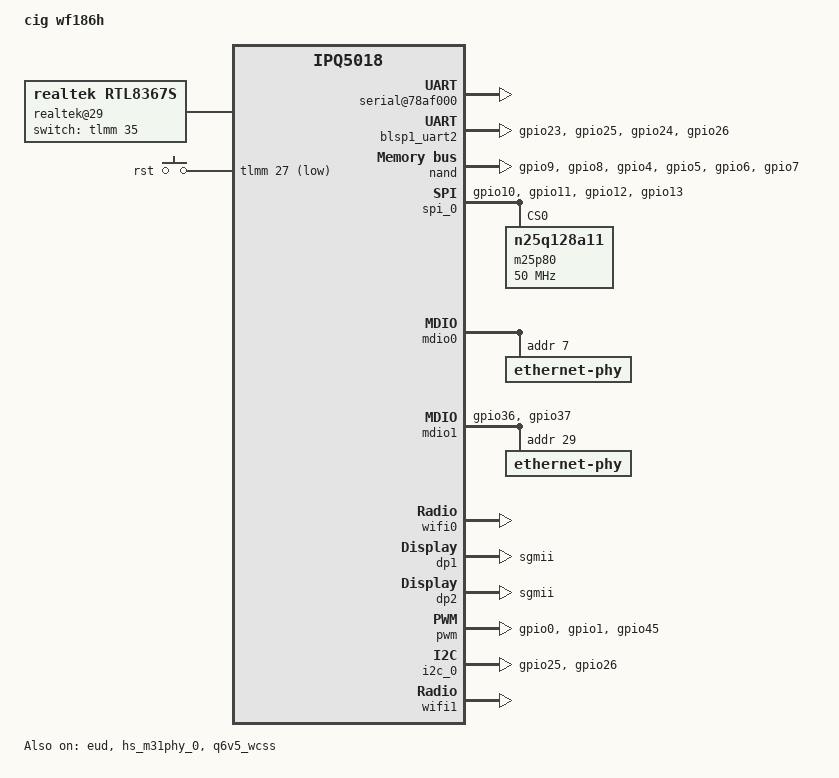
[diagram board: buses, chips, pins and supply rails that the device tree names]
/dts-v1/;
/* Copyright (c) 2018-2021, The Linux Foundation. All rights reserved.
 *
 * Copyright (c) 2021 Qualcomm Innovation Center, Inc. All rights reserved.
 *
 * Permission to use, copy, modify, and/or distribute this software for any
 * purpose with or without fee is hereby granted, provided that the above
 * copyright notice and this permission notice appear in all copies.
 *
 * THE SOFTWARE IS PROVIDED "AS IS" AND THE AUTHOR DISCLAIMS ALL WARRANTIES
 * WITH REGARD TO THIS SOFTWARE INCLUDING ALL IMPLIED WARRANTIES OF
 * MERCHANTABILITY AND FITNESS. IN NO EVENT SHALL THE AUTHOR BE LIABLE FOR
 * ANY SPECIAL, DIRECT, INDIRECT, OR CONSEQUENTIAL DAMAGES OR ANY DAMAGES
 * WHATSOEVER RESULTING FROM LOSS OF USE, DATA OR PROFITS, WHETHER IN AN
 * ACTION OF CONTRACT, NEGLIGENCE OR OTHER TORTIOUS ACTION, ARISING OUT OF
 * OR IN CONNECTION WITH THE USE OR PERFORMANCE OF THIS SOFTWARE.
 */

#include "ipq5018.dtsi"

/ {
	#address-cells = <0x2>;
	#size-cells = <0x2>;
	model = "cig wf186h";
	compatible = "cig,wf186h","qcom,ipq5018-ap-mp03.3", "qcom,ipq5018-mp03.3", "qcom,ipq5018";
	interrupt-parent = <&intc>;

	aliases {
		sdhc1 = &sdhc_1; /* SDC1 eMMC slot */
		serial0 = &blsp1_uart1;
		serial1 = &blsp1_uart2;
		ethernet0 = "/soc/dp1";
		ethernet1 = "/soc/dp2";
	};

	chosen {
		bootargs = "console=ttyMSM0,115200,n8 rw init=/init";
		bootargs-append = " swiotlb=1 coherent_pool=2M";
		stdout-path = "serial0";
	};

	reserved-memory {
	#ifdef __IPQ_MEM_PROFILE_256_MB__
	/*            256 MB Profile
	 * +=========+==============+========================+
	 * |        |              |                         |
	 * | Region | Start Offset |          Size           |
	 * |        |              |                         |
	 * +--------+--------------+-------------------------+
	 * |        |              |                         |
	 * |        |              |                         |
	 * |  NSS   |  0x40000000  |          8MB            |
	 * |        |              |                         |
	 * |        |              |                         |
	 * +--------+--------------+-------------------------+
	 * |        |              |                         |
	 * |        |              |                         |
	 * |        |              |                         |
	 * |        |              |                         |
	 * | Linux  |  0x40800000  | Depends on total memory |
	 * |        |              |                         |
	 * |        |              |                         |
	 * |        |              |                         |
	 * +        |              |                         |
	 * +--------+--------------+-------------------------+
	 * |        |              |                         |
	 * | uboot  |  0x4A600000  |           4MB           |
	 * |        |              |                         |
	 * +--------+--------------+-------------------------+
	 * |  SBL   |  0x4AA00000  |           1MB           |
	 * +--------+--------------+-------------------------+
	 * |  smem  |  0x4AB00000  |           1MB           |
	 * +--------+--------------+-------------------------+
	 * |        |              |                         |
	 * |   TZ   |  0x4AC00000  |           4MB           |
	 * |        |              |                         |
	 * +--------+--------------+-------------------------+
	 * |        |              |                         |
	 * |        |              |                         |
	 * |        |              |                         |
	 * |   Q6   |  0x4B000000  |          16MB           |
	 * |  code/ |              |                         |
	 * |  data  |              |                         |
	 * +--------+--------------+-------------------------+
	 * |        |              |                         |
	 * |IPQ5018 |  0x4C000000  |          13MB           |
	 * |  data  |              |                         |
	 * +--------+--------------+-------------------------+
	 * | M3 Dump|  0x4CD00000  |           1MB           |
	 * +--------+--------------+-------------------------+
	 * |  QDSS  |  0x4CE00000  |           1MB           |
	 * +--------+--------------+-------------------------+
	 * |QCN6122 |  0x4CF00000  |          15MB           |
	 * |  data  |              |                         |
	 * +--------+--------------+-------------------------+
	 * | M3 Dump|  0x4DE00000  |           1MB           |
	 * +--------+--------------+-------------------------+
	 * |  QDSS  |  0x4DF00000  |           1MB           |
	 * +--------+--------------+-------------------------+
	 * |        |              |                         |
	 * |QCN9000 |  0x4E000000  |          25MB           |
	 * |        |              |                         |
	 * +--------+--------------+-------------------------+
	 * |        |              |                         |
	 * |  MHI1  |  0x4F900000  |           9MB           |
	 * |        |              |                         |
	 * +--------+--------------+-------------------------+
	 * |                                                 |
	 * |      Rest of the memory for Linux               |
	 * |                                                 |
	 * +=================================================+
	 */

		q6_mem_regions: q6_mem_regions@4B000000 {
			no-map;
			reg = <0x0 0x4B000000 0x0 0x3000000>;
		};

		q6_code_data: q6_code_data@4B000000 {
			no-map;
			reg = <0x0 0x4B000000 0x0 01000000>;
		};

		q6_ipq5018_data: q6_ipq5018_data@4c000000 {
			no-map;
			reg = <0x0 0x4c000000 0x0 0xD00000>;
		};

		m3_dump: m3_dump@4CD00000 {
			no-map;
			reg = <0x0 0x4CD00000 0x0 0x100000>;
		};

		q6_etr_region:q6_etr_dump@4CE00000 {
			no-map;
			reg = <0x0 0x4CE00000 0x0 0x100000>;
		};

		q6_qcn6122_data1: q6_qcn6122_data1@4CF00000 {
			no-map;
			reg = <0x0 0x4CF00000 0x0 0xF00000>;
		};

		m3_dump_qcn6122_1: m3_dump_qcn6122_1@4DE00000 {
			no-map;
			reg = <0x0 0x4DE00000 0x0 0x100000>;
		};

		q6_qcn6122_etr_1: q6_qcn6122_etr_1@4DF00000 {
			no-map;
			reg = <0x0 0x4DF00000 0x0 0x100000>;
		};

		q6_qcn9000_region: qcn9000_pcie0@4E000000 {
			no-map;
			reg = <0x0 0x4E000000 0x0 0x01900000>;
		};

	#if defined(__CNSS2__)
		mhi_region1: dma_pool1@4F900000 {
			compatible = "shared-dma-pool";
			no-map;
			reg = <0x0 0x4F900000 0x0 0x00500000>;
		};
	#endif
	#elif __IPQ_MEM_PROFILE_512_MB__
	/*                      512 MB Profile
	 * +==========+==============+=========================+
	 * |          |              |                         |
	 * |  Region  | Start Offset |          Size           |
	 * |          |              |                         |
	 * +----------+--------------+-------------------------+
	 * |    NSS   |  0x40000000  |          16MB           |
	 * +----------+--------------+-------------------------+
	 * |   Linux  |  0x41000000  | Depends on total memory |
	 * +----------+--------------+-------------------------+
	 * |   uboot  |  0x4A600000  |           4MB           |
	 * +----------+--------------+-------------------------+
	 * |    SBL   |  0x4AA00000  |           1MB           |
	 * +----------+--------------+-------------------------+
	 * |   smem   |  0x4AB00000  |           1MB           |
	 * +----------+--------------+-------------------------+
	 * |    TZ    |  0x4AC00000  |           4MB           |
	 * +----------+--------------+-------------------------+
	 * |    Q6    |              |                         |
	 * |   code/  |  0x4B000000  |          20MB           |
	 * |   data   |              |                         |
	 * +----------+--------------+-------------------------+
	 * |  IPQ5018 |              |                         |
	 * |   data   |  0x4C400000  |          13MB           |
	 * +----------+--------------+-------------------------+
	 * |  IPQ5018 |              |                         |
	 * |  M3 Dump |  0x4D100000  |           1MB           |
	 * +----------+--------------+-------------------------+
	 * |  IPQ5018 |              |                         |
	 * |   QDSS   |  0x4D200000  |           1MB           |
	 * +----------+--------------+-------------------------+
	 * |  IPQ5018 |              |                         |
	 * |  Caldb   |  0x4D300000  |           2MB           |
	 * +----------+--------------+-------------------------+
	 * | QCN6122_1|              |                         |
	 * |   data   |  0x4D500000  |          13MB           |
	 * +----------+--------------+-------------------------+
	 * | QCN6122_1|              |                         |
	 * |  M3 Dump |  0x4E200000  |           1MB           |
	 * +----------+--------------+-------------------------+
	 * | QCN6122_1|              |                         |
	 * |   QDSS   |  0x4E300000  |           1MB           |
	 * +----------+--------------+-------------------------+
	 * | QCN6122_1|              |                         |
	 * |  Caldb   |  0x4E400000  |           5MB           |
	 * +----------+--------------+-------------------------+
	 * |                                                   |
	 * |            Rest of the memory for Linux           |
	 * |                                                   |
	 * +===================================================+
	 */
		q6_mem_regions: q6_mem_regions@4B000000 {
			no-map;
			reg = <0x0 0x4B000000 0x0 0x4D00000>;
		};

		q6_code_data: q6_code_data@4B000000 {
			no-map;
			reg = <0x0 0x4B000000 0x0 01400000>;
		};

		q6_ipq5018_data: q6_ipq5018_data@4C400000 {
			no-map;
			reg = <0x0 0x4C400000 0x0 0xD00000>;
		};

		m3_dump: m3_dump@4D100000 {
			no-map;
			reg = <0x0 0x4D100000 0x0 0x100000>;
		};

		q6_etr_region: q6_etr_dump@4D200000 {
			no-map;
			reg = <0x0 0x4D200000 0x0 0x100000>;
		};

		q6_caldb_region: q6_caldb_region@4D300000 {
			no-map;
			reg = <0x0 0x4D300000 0x0 0x200000>;
		};

		q6_qcn6122_data1: q6_qcn6122_data1@4D500000 {
			no-map;
			reg = <0x0 0x4D500000 0x0 0xD00000>;
		};

		m3_dump_qcn6122_1: m3_dump_qcn6122_1@4E200000 {
			no-map;
			reg = <0x0 0x4E200000 0x0 0x100000>;
		};

		q6_qcn6122_etr_1: q6_qcn6122_etr_1@4E300000 {
			no-map;
			reg = <0x0 0x4E300000 0x0 0x100000>;
		};

		q6_qcn6122_caldb_1: q6_qcn6122_caldb_1@4E400000 {
			no-map;
			reg = <0x0 0x4E400000 0x0 0x500000>;
		};
	#else
	/*                      1G Profile
	 * +=========+==============+========================+
	 * |        |              |                         |
	 * | Region | Start Offset |          Size           |
	 * |        |              |                         |
	 * +--------+--------------+-------------------------+
	 * |        |              |                         |
	 * |        |              |                         |
	 * |  NSS   |  0x40000000  |          16MB           |
	 * |        |              |                         |
	 * |        |              |                         |
	 * +--------+--------------+-------------------------+
	 * |        |              |                         |
	 * |        |              |                         |
	 * |        |              |                         |
	 * |        |              |                         |
	 * | Linux  |  0x41000000  | Depends on total memory |
	 * |        |              |                         |
	 * |        |              |                         |
	 * |        |              |                         |
	 * |        |              |                         |
	 * +--------+--------------+-------------------------+
	 * |        |              |                         |
	 * | uboot  |  0x4A600000  |           4MB           |
	 * |        |              |                         |
	 * +--------+--------------+-------------------------+
	 * |  SBL   |  0x4AA00000  |           1MB           |
	 * +--------+--------------+-------------------------+
	 * |  smem  |  0x4AB00000  |           1MB           |
	 * +--------+--------------+-------------------------+
	 * |        |              |                         |
	 * |   TZ   |  0x4AC00000  |           4MB           |
	 * |        |              |                         |
	 * +--------+--------------+-------------------------+
	 * |        |              |                         |
	 * |        |              |                         |
	 * |   Q6   |  0x4B000000  |          16MB           |
	 * |  code/ |              |                         |
	 * |  data  |              |                         |
	 * +--------+--------------+-------------------------+
	 * |        |              |                         |
	 * |IPQ5018 |  0x4C000000  |          13MB           |
	 * |  data  |              |                         |
	 * +--------+--------------+-------------------------+
	 * | M3 Dump|  0x4CD00000  |           1MB           |
	 * +--------+--------------+-------------------------+
	 * |  QDSS  |  0x4CE00000  |           1MB           |
	 * +--------+--------------+-------------------------+
	 * | caldb  |  0x4CF00000  |           2MB           |
	 * +--------+--------------+-------------------------+
	 * |QCN6122 |  0x4D100000  |          13MB           |
	 * |  data  |              |                         |
	 * +--------+--------------+-------------------------+
	 * | M3 Dump|  0x4DE00000  |           1MB           |
	 * +--------+--------------+-------------------------+
	 * |  QDSS  |  0x4DF00000  |           1MB           |
	 * +--------+--------------+-------------------------+
	 * | caldb  |  0x4E000000  |           5MB           |
	 * +--------+--------------+-------------------------+
	 * |        |              |                         |
	 * |QCN9000 |  0x4E500000  |          53MB           |
	 * |        |              |                         |
	 * +--------+--------------+-------------------------+
	 * |        |              |                         |
	 * |  MHI1  |  0x51A00000  |           9MB           |
	 * |        |              |                         |
	 * +--------+--------------+-------------------------+
	 * |                                                 |
	 * |      Rest of the memory for Linux               |
	 * |                                                 |
	 * +=================================================+
	 */

		q6_mem_regions: q6_mem_regions@4B000000 {
			no-map;
			reg = <0x0 0x4B000000 0x0 0x3500000>;
		};

		q6_code_data: q6_code_data@4B000000 {
			no-map;
			reg = <0x0 0x4B000000 0x0 01000000>;
		};

		q6_ipq5018_data: q6_ipq5018_data@4C000000 {
			no-map;
			reg = <0x0 0x4C000000 0x0 0xD00000>;
		};

		m3_dump: m3_dump@4CD00000 {
			no-map;
			reg = <0x0 0x4CD00000 0x0 0x100000>;
		};

		q6_etr_region: q6_etr_dump@4CE00000 {
			no-map;
			reg = <0x0 0x4CE00000 0x0 0x100000>;
		};

		q6_caldb_region: q6_caldb_region@4CF00000 {
			no-map;
			reg = <0x0 0x4CF00000 0x0 0x200000>;
		};

		q6_qcn6122_data1: q6_qcn6122_data1@4D100000 {
			no-map;
			reg = <0x0 0x4D100000 0x0 0xD00000>;
		};

		m3_dump_qcn6122_1: m3_dump_qcn6122_1@4DE00000 {
			no-map;
			reg = <0x0 0x4DE00000 0x0 0x100000>;
		};

		q6_qcn6122_etr_1: q6_qcn6122_etr_1@4DF00000 {
			no-map;
			reg = <0x0 0x4DF00000 0x0 0x100000>;
		};

		q6_qcn6122_caldb_1: q6_qcn6122_caldb_1@4E000000 {
			no-map;
			reg = <0x0 0x4E000000 0x0 0x500000>;
		};

		q6_qcn9000_region: qcn9000_pcie0@4E500000 {
			no-map;
			reg = <0x0 0x4E500000 0x0 0x03500000>;
		};

#if defined(__CNSS2__)
		mhi_region1: dma_pool1@51a00000 {
			compatible = "shared-dma-pool";
			no-map;
			reg = <0x0 0x51A00000 0x0 0x00500000>;
		};
#endif
	#endif
	};

	soc {
		serial@78af000 {
			status = "ok";
		};

		blsp1_uart2: serial@78b0000 {
			pinctrl-0 = <&blsp1_uart_pins>;
			pinctrl-names = "default";
			status = "ok";
		};

		qpic_bam: dma@7984000{
			status = "ok";
		};

		nand: qpic-nand@79b0000 {
			pinctrl-0 = <&qspi_nand_pins>;
			pinctrl-names = "default";
			status = "ok";
		};

		spi_0: spi@78b5000 { /* BLSP1 QUP0 */
			pinctrl-0 = <&blsp0_spi_pins>;
			pinctrl-names = "default";
			cs-select = <0>;
			status = "ok";

			m25p80@0 {
				#address-cells = <1>;
				#size-cells = <1>;
				reg = <0>;
				compatible = "n25q128a11";
				linux,modalias = "m25p80", "n25q128a11";
				spi-max-frequency = <50000000>;
				use-default-sizes;
			};
		};

		mdio0: mdio@88000 {
			status = "ok";

			ethernet-phy@0 {
				reg = <7>;
			};
		};

		mdio1: mdio@90000 {
			status = "ok";
			pinctrl-0 = <&mdio1_pins>;
			pinctrl-names = "default";
			phy-reset-gpio = <&tlmm 35 0>;
			cig_clk_div = <0xff>;
			ethernet-phy@0 {
				reg = <0x1d>;
			};
		};

		realtek@29{
			compatible = "realtek,rtl8367s";
			mii-bus = <&mdio1>;
			realtek,extif0 = <0 0 10 1 1 1 1 1 2>;
			switch = <&tlmm 35 0>;
			phy-addr = <29>;
                        status = "ok";
		};
		ess-instance {
			num_devices = <0x1>;
			ess-switch@0x39c00000 {
				switch_mac_mode = <0xf>; /* mac mode for uniphy instance*/
				cmnblk_clk = "internal_96MHz"; /* cmnblk clk*/
				qcom,port_phyinfo {
					port@0 {
						port_id = <1>;
						phy_address = <7>;
						mdiobus = <&mdio0>;
					};
					port@1 {
						port_id = <2>;
						forced-speed = <1000>;
						mdiobus = <&mdio1>;
						forced-duplex = <1>;
					};
				};
				led_source@0 {
					source = <0>;
					mode = "normal";
					speed = "all";
					blink_en = "enable";
					active = "high";
				};
			};
		};

		wifi0: wifi@c000000 {
			status = "ok";
		};

		dp1 {
			device_type = "network";
			compatible = "qcom,nss-dp";
			clocks = <&gcc GCC_SNOC_GMAC1_AXI_CLK>;
			clock-names = "nss-snoc-gmac-axi-clk";
			qcom,id = <2>;
			reg = <0x39D00000 0x10000>;
			interrupts = <GIC_SPI 109 IRQ_TYPE_LEVEL_HIGH>;
			qcom,mactype = <2>;
			mdio-bus = <&mdio1>;
			local-mac-address = [000000000000];
			phy-mode = "sgmii";
			qcom,rx-page-mode = <0>;
		};

		dp2 {
			device_type = "network";
			compatible = "qcom,nss-dp";
			clocks = <&gcc GCC_SNOC_GMAC0_AXI_CLK>;
			clock-names = "nss-snoc-gmac-axi-clk";
			qcom,id = <1>;
			reg = <0x39C00000 0x10000>;
			interrupts = <GIC_SPI 101 IRQ_TYPE_LEVEL_HIGH>;
			qcom,mactype = <2>;
			qcom,link-poll = <1>;
			qcom,phy-mdio-addr = <7>;
			mdio-bus = <&mdio0>;
			local-mac-address = [000000000000];
			phy-mode = "sgmii";
			qcom,rx-page-mode = <0>;
		};

		nss-macsec1 {
			compatible = "qcom,nss-macsec";
			phy_addr = <0x1c>;
			mdiobus = <&mdio1>;
		};

		pcm: pcm@0xA3C0000{
			pinctrl-0 = <&audio_pins>;
			pinctrl-names = "default";
		};

		gpio_keys {
			compatible = "gpio-keys";
			pinctrl-0 = <&button_pins>;
			pinctrl-names = "default";

			button@1 {
				label = "rst";
				linux,code = <KEY_RESTART>;
				gpios = <&tlmm 27 GPIO_ACTIVE_LOW>;
				linux,input-type = <1>;
				debounce-interval = <60>;
			};
		};
	};

	qcom,test@0 {
		status = "ok";
	};

	thermal-zones {
		status = "ok";
	};
};

&soc {
         pwm: pwm@0x1941010 {
                pinctrl-0 = <&pwm_pins>;
                pinctrl-names = "default";
                used-pwm-indices = <1>, <1>, <1>, <1>;
                dft-pwm-status = <1>, <0>, <0>, <0>;
                status = "ok";
        };
};


&tlmm {
	pinctrl-0 = <&blsp0_uart_pins &phy_led_pins>;
	pinctrl-names = "default";

	blsp0_uart_pins: uart_pins {
		blsp0_uart_rx_tx {
			pins = "gpio20", "gpio21";
			function = "blsp0_uart0";
			bias-disable;
		};
	};

	blsp1_uart_pins: blsp1_uart_pins {
		blsp1_uart_rx_tx {
			pins = "gpio23", "gpio25", "gpio24", "gpio26";
			function = "blsp1_uart2";
			bias-disable;
		};
	};

	blsp0_spi_pins: blsp0_spi_pins {
		mux {
			pins = "gpio10", "gpio11", "gpio12", "gpio13";
			function = "blsp0_spi";
			drive-strength = <2>;
			bias-disable;
		};
	};

	qspi_nand_pins: qspi_nand_pins {
		qspi_clock {
				pins = "gpio9";
				function = "qspi_clk";
				drive-strength = <8>;
				bias-disable;
			};

		qspi_cs {
				pins = "gpio8";
				function = "qspi_cs";
				drive-strength = <8>;
				bias-disable;
			};

		qspi_data {
				pins = "gpio4", "gpio5", "gpio6", "gpio7";
				function = "qspi_data";
				drive-strength = <8>;
				bias-disable;
			};
	};

	mdio1_pins: mdio_pinmux {
		mux_0 {
			pins = "gpio36";
			function = "mdc";
			drive-strength = <8>;
			bias-pull-up;
		};

		mux_1 {
			pins = "gpio37";
			function = "mdio";
			drive-strength = <8>;
			bias-pull-up;
		};
	};

	phy_led_pins: phy_led_pins {
		gephy_led_pin {
			pins = "gpio46";
			function = "led0";
			drive-strength = <8>;
			bias-pull-down;
		};
	};

	i2c_pins: i2c_pins {
		i2c_scl {
			pins = "gpio25";
			function = "blsp2_i2c1";
			drive-strength = <8>;
			bias-disable;
		};

		i2c_sda {
			pins = "gpio26";
			function = "blsp2_i2c1";
			drive-strength = <8>;
			bias-disable;
		};
	};

	button_pins: button_pins {
		rst_button {
			pins = "gpio27";
			function = "gpio";
			drive-strength = <8>;
			bias-pull-up;
		};
	};

	audio_pins: audio_pinmux {
		mux_1 {
			pins = "gpio24";
			function = "audio_rxbclk";
			drive-strength = <8>;
			bias-pull-down;
		};

		mux_2 {
			pins = "gpio25";
			function = "audio_rxfsync";
			drive-strength = <8>;
			bias-pull-down;
		};

		mux_3 {
			pins = "gpio26";
			function = "audio_rxd";
			drive-strength = <8>;
			bias-pull-down;
		};

		mux_4 {
			pins = "gpio27";
			function = "audio_txmclk";
			drive-strength = <8>;
			bias-pull-down;
		};

		mux_5 {
			pins = "gpio28";
			function = "audio_txbclk";
			drive-strength = <8>;
			bias-pull-down;
		};

		mux_6 {
			pins = "gpio29";
			function = "audio_txfsync";
			drive-strength = <8>;
			bias-pull-down;
		};

		mux_7 {
			pins = "gpio30";
			function = "audio_txd";
			drive-strength = <8>;
			bias-pull-down;
		};
	};

	pwm_pins: pwm_pinmux {
	        mux_1 {
	            pins = "gpio0";
	            function = "pwm10";
	            drive-strength = <8>;
	        };
		mux_2 {
				pins = "gpio1";
				function = "pwm20";
				drive-strength = <8>;
			};
		mux_3 {
				pins = "gpio45";
				function = "pwm3";
				drive-strength = <8>;
			};
	};
	
};

&usb3 {
	status = "disabled";
	device-power-gpio = <&tlmm 24 1>;
};

&eud {
	status = "ok";
};

&pcie_x1 {
	perst-gpio = <&tlmm 18 GPIO_ACTIVE_LOW>;
};

&pcie_x2 {
	perst-gpio = <&tlmm 15 GPIO_ACTIVE_LOW>;
};

&dwc_0 {
	/delete-property/ #phy-cells;
	/delete-property/ phys;
	/delete-property/ phy-names;
};

&hs_m31phy_0 {
	status = "ok";
};

/*&pcie_x2phy {
	status = "ok";
};*/

&pcie_x1_rp {
        status = "disabled";

	mhi_0: qcom,mhi@0 {
		reg = <0 0 0 0 0 >;
	};
};

&pcie_x2_rp {
	status = "disabled";

	mhi_1: qcom,mhi@1 {
		reg = <0 0 0 0 0 >;

	};
};


&q6v5_wcss {
	compatible = "qcom,ipq5018-q6-mpd";
	#address-cells = <1>;
	#size-cells = <1>;
	ranges;
	firmware = "IPQ5018/q6_fw.mdt";
	reg = <0x0cd00000 0x4040>,
	      <0x1938000 0x8>,
	      <0x193d204 0x4>;
	reg-names = "qdsp6",
		    "tcsr-msip",
		    "tcsr-q6";
	resets = <&gcc GCC_WCSSAON_RESET>,
		 <&gcc GCC_WCSS_Q6_BCR>;

	reset-names = "wcss_aon_reset",
		      "wcss_q6_reset";

	clocks = <&gcc GCC_Q6_AXIS_CLK>,
		 <&gcc GCC_WCSS_ECAHB_CLK>,
		 <&gcc GCC_Q6_AXIM_CLK>,
		 <&gcc GCC_Q6_AXIM2_CLK>,
		 <&gcc GCC_Q6_AHB_CLK>,
		 <&gcc GCC_Q6_AHB_S_CLK>,
		 <&gcc GCC_WCSS_AXI_S_CLK>;
	clock-names = "gcc_q6_axis_clk",
		      "gcc_wcss_ecahb_clk",
		      "gcc_q6_axim_clk",
		      "gcc_q6_axim2_clk",
		      "gcc_q6_ahb_clk",
		      "gcc_q6_ahb_s_clk",
		      "gcc_wcss_axi_s_clk";

#ifdef __IPQ_MEM_PROFILE_256_MB__
	memory-region = <&q6_mem_regions>, <&q6_etr_region>;
#else
	memory-region = <&q6_mem_regions>, <&q6_etr_region>,
			<&q6_caldb_region>;
#endif

	qcom,rproc = <&q6v5_wcss>;
	qcom,bootargs_smem = <507>;
	boot-args = <0x1 0x4 0x3 0x0F 0x0 0x0>,
		    <0x2 0x4 0x2 0x12 0x0 0x0>;
	status = "ok";
	q6_wcss_pd1: remoteproc_pd1@4ab000 {
		compatible = "qcom,ipq5018-wcss-ahb-mpd";
		reg = <0x4ab000 0x20>;
		reg-names = "rmb";
		firmware = "IPQ5018/q6_fw.mdt";
		m3_firmware = "IPQ5018/m3_fw.mdt";
		interrupts-extended = <&wcss_smp2p_in 8 0>,
				      <&wcss_smp2p_in 9 0>,
				      <&wcss_smp2p_in 12 0>,
				      <&wcss_smp2p_in 11 0>;
		interrupt-names = "fatal",
				  "ready",
				  "spawn-ack",
				  "stop-ack";

		resets = <&gcc GCC_WCSSAON_RESET>,
			 <&gcc GCC_WCSS_BCR>,
			 <&gcc GCC_CE_BCR>;
		reset-names = "wcss_aon_reset",
			      "wcss_reset",
			      "ce_reset";

		clocks = <&gcc GCC_WCSS_AHB_S_CLK>,
			 <&gcc GCC_WCSS_ACMT_CLK>,
			 <&gcc GCC_WCSS_AXI_M_CLK>;
		clock-names = "gcc_wcss_ahb_s_clk",
			      "gcc_wcss_acmt_clk",
			      "gcc_wcss_axi_m_clk";

		qcom,halt-regs = <&tcsr_q6_block 0xa000 0xd000 0x0>;

		qcom,smem-states = <&wcss_smp2p_out 8>,
				   <&wcss_smp2p_out 9>,
				   <&wcss_smp2p_out 10>;
		qcom,smem-state-names = "shutdown",
					"stop",
					"spawn";
	#ifdef __IPQ_MEM_PROFILE_256_MB__
		memory-region = <&q6_ipq5018_data>, <&m3_dump>,
				<&q6_etr_region>;
	#else
		memory-region = <&q6_ipq5018_data>, <&m3_dump>,
				<&q6_etr_region>, <&q6_caldb_region>;
	#endif

	};

	q6_wcss_pd2: remoteproc_pd2 {
		compatible = "qcom,ipq5018-wcss-pcie-mpd";
		firmware = "IPQ5018/q6_fw.mdt";
		m3_firmware = "qcn6122/m3_fw.mdt";
		interrupts-extended = <&wcss_smp2p_in 16 0>,
				      <&wcss_smp2p_in 17 0>,
				      <&wcss_smp2p_in 20 0>,
				      <&wcss_smp2p_in 19 0>;
		interrupt-names = "fatal",
				  "ready",
				  "spawn-ack",
				  "stop-ack";

		qcom,smem-states = <&wcss_smp2p_out 16>,
				   <&wcss_smp2p_out 17>,
				   <&wcss_smp2p_out 18>;
		qcom,smem-state-names = "shutdown",
					"stop",
					"spawn";
	#ifdef __IPQ_MEM_PROFILE_256_MB__
		memory-region = <&q6_qcn6122_data1>, <&m3_dump_qcn6122_1>,
				<&q6_qcn6122_etr_1>;
	#else
		memory-region = <&q6_qcn6122_data1>, <&m3_dump_qcn6122_1>,
				<&q6_qcn6122_etr_1>, <&q6_qcn6122_caldb_1>;
	#endif

	};
};

&i2c_0 {
	pinctrl-0 = <&i2c_pins>;
	pinctrl-names = "default";
};

&wifi0 {
	/* IPQ5018 */
	qcom,multipd_arch;
	qcom,userpd-subsys-name = "q6v5_wcss_userpd1";
	qcom,rproc = <&q6_wcss_pd1>;
#ifdef __IPQ_MEM_PROFILE_256_MB__
	qcom,tgt-mem-mode = <2>;
#else
	qcom,tgt-mem-mode = <1>;
#endif
	qcom,board_id = <0x24>;
#ifdef __CNSS2__
	qcom,bdf-addr = <0x4C400000 0x4C400000 0x4C400000 0x0 0x0>;
	qcom,caldb-addr = <0x4D300000 0x4D300000 0 0 0>;
	qcom,caldb-size = <0x200000>;
	mem-region = <&q6_ipq5018_data>;
#else
	memory-region = <&q6_ipq5018_data>;
#endif
	status = "ok";
};

&wifi1 {
	/* QCN6122 5G */
	qcom,multipd_arch;
	qcom,userpd-subsys-name = "q6v5_wcss_userpd2";
	qcom,rproc = <&q6_wcss_pd2>;
#ifdef __IPQ_MEM_PROFILE_256_MB__
	qcom,tgt-mem-mode = <2>;
#else
	qcom,tgt-mem-mode = <1>;
#endif
	qcom,board_id = <0x60>;
#ifdef __CNSS2__
	qcom,bdf-addr = <0x4D500000 0x4D500000 0x4D300000 0x0 0x0>;
	qcom,caldb-addr = <0x4E400000 0x4E400000 0 0 0>;
	qcom,caldb-size = <0x500000>;
	mem-region = <&q6_qcn6122_data1>;
#else
	memory-region = <&q6_qcn6122_data1>;
#endif
	status = "ok";
};

